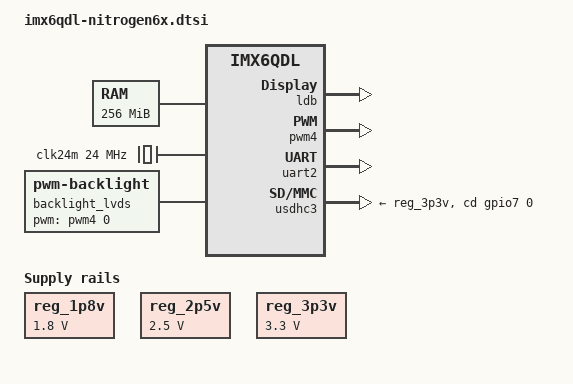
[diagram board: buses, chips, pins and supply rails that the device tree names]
/*
 * Copyright 2013 Boundary Devices
 * Copyright 2012 Freescale Semiconductor, Inc.
 * Copyright 2011 Linaro Ltd.
 *
 * The code contained herein is licensed under the GNU General Public
 * License. You may obtain a copy of the GNU General Public License
 * Version 2 or later at the following locations:
 *
 * http://www.opensource.org/licenses/gpl-license.html
 * http://www.gnu.org/copyleft/gpl.html
 */
#include <dt-bindings/input/input.h>

/ {
	aliases {
		mxcfb0 = &mxcfb1;
		/* mxcfb1 = &mxcfb2; */
		/* mxcfb2 = &mxcfb3; */
		/* mxcfb3 = &mxcfb4; */
	};

	memory {
		reg = <0xC0000000 0x10000000>;
	};

	clocks {
		clk24m: clk24m {
			compatible = "fixed-clock";
			#clock-cells = <0>;
			clock-frequency = <24000000>;
		};
	};

	regulators {
		compatible = "simple-bus";

		reg_1p8v: 1p8v {
			compatible = "regulator-fixed";
			regulator-name = "1P8V";
			regulator-min-microvolt = <1800000>;
			regulator-max-microvolt = <1800000>;
			regulator-always-on;
		};

		reg_2p5v: 2p5v {
			compatible = "regulator-fixed";
			regulator-name = "2P5V";
			regulator-min-microvolt = <2500000>;
			regulator-max-microvolt = <2500000>;
			regulator-always-on;
		};

		reg_3p3v: 3p3v {
			compatible = "regulator-fixed";
			regulator-name = "3P3V";
			regulator-min-microvolt = <3300000>;
			regulator-max-microvolt = <3300000>;
			regulator-always-on;
		};

		/* reg_usb_otg_vbus: usb_otg_vbus { */
		/* 	compatible = "regulator-fixed"; */
		/* 	regulator-name = "usb_otg_vbus"; */
		/* 	regulator-min-microvolt = <5000000>; */
		/* 	regulator-max-microvolt = <5000000>; */
		/* 	gpio = <&gpio3 22 0>; */
		/* 	enable-active-high; */
		/* }; */
	};

	/* gpio-keys { */
	/* 	compatible = "gpio-keys"; */
	/* 	power { */
	/* 		label = "Power Button"; */
	/* 		gpios = <&gpio2 3 0>; */
	/* 		linux,code = <KEY_POWER>;	/\* or KEY_SEARCH *\/ */
	/* 		gpio-key,wakeup; */
	/* 	}; */

	/* 	menu { */
	/* 		label = "Menu"; */
	/* 		gpios = <&gpio2 1 0>; */
	/* 		linux,code = <KEY_MENU>; */
	/* 	}; */

	/* 	home { */
	/* 		label = "Home"; */
	/* 		gpios = <&gpio2 4 0>; */
	/* 		linux,code = <KEY_HOME>; */
	/* 	}; */

	/* 	back { */
	/* 		label = "Back"; */
	/* 		gpios = <&gpio2 2 0>; */
	/* 		linux,code = <KEY_BACK>; */
	/* 	}; */

	/* 	volume-up { */
	/* 		label = "Volume Up"; */
	/* 		gpios = <&gpio7 13 0>; */
	/* 		linux,code = <KEY_VOLUMEUP>; */
	/* 	}; */

	/* 	volume-down { */
	/* 		label = "Volume Down"; */
	/* 		gpios = <&gpio4 5 0>; */
	/* 		linux,code = <KEY_VOLUMEDOWN>; */
	/* 	}; */
	/* }; */

	/* sound { */
	/* 	compatible = "fsl,imx6q-nitrogen6x-sgtl5000", */
	/* 		     "fsl,imx-audio-sgtl5000"; */
	/* 	model = "imx6q-nitrogen6x-sgtl5000"; */
	/* 	ssi-controller = <&ssi1>; */
	/* 	audio-codec = <&codec>; */
	/* 	audio-routing = */
	/* 		"MIC_IN", "Mic Jack", */
	/* 		"Mic Jack", "Mic Bias", */
	/* 		"Headphone Jack", "HP_OUT"; */
	/* 	mux-int-port = <1>; */
	/* 	mux-ext-port = <3>; */
	/* }; */
	/* sound-hdmi { */
	/* 	compatible = "fsl,imx6q-audio-hdmi", */
	/* 		     "fsl,imx-audio-hdmi"; */
	/* 	model = "imx-audio-hdmi"; */
	/* 	hdmi-controller = <&hdmi_audio>; */
	/* }; */

	mxcfb1: fb@0 {
		compatible = "fsl,mxc_sdc_fb";
		disp_dev = "ldb";
		interface_pix_fmt = "RGB666";
		mode_str ="LDB-XGA";
		default_bpp = <16>;
		int_clk = <0>;
		late_init = <0>;
		status = "disabled";
	};

	/* mxcfb2: fb@1 { */
	/* 	compatible = "fsl,mxc_sdc_fb"; */
	/* 	disp_dev = "hdmi"; */
	/* 	interface_pix_fmt = "RGB24"; */
	/* 	mode_str ="1920x1080M@60"; */
	/* 	default_bpp = <24>; */
	/* 	int_clk = <0>; */
	/* 	late_init = <0>; */
	/* 	status = "disabled"; */
	/* }; */

	/* mxcfb3: fb@2 { */
	/* 	compatible = "fsl,mxc_sdc_fb"; */
	/* 	disp_dev = "lcd"; */
	/* 	interface_pix_fmt = "RGB565"; */
	/* 	mode_str ="CLAA-WVGA"; */
	/* 	default_bpp = <16>; */
	/* 	int_clk = <0>; */
	/* 	late_init = <0>; */
	/* 	status = "disabled"; */
	/* }; */

	/* mxcfb4: fb@3 { */
	/* 	compatible = "fsl,mxc_sdc_fb"; */
	/* 	disp_dev = "ldb"; */
	/* 	interface_pix_fmt = "RGB666"; */
	/* 	mode_str ="LDB-XGA"; */
	/* 	default_bpp = <16>; */
	/* 	int_clk = <0>; */
	/* 	late_init = <0>; */
	/* 	status = "disabled"; */
	/* }; */

	/* lcd0: lcd@0 { */
	/* 	compatible = "fsl,lcd"; */
	/* 	ipu_id = <0>; */
	/* 	disp_id = <0>; */
	/* 	default_ifmt = "RGB565"; */
	/* 	pinctrl-names = "default"; */
	/* 	pinctrl-0 = <&pinctrl_ipu1_4>; */
	/* 	status = "okay"; */
	/* }; */

	/* backlight_lcd: backlight_lcd { */
	/* 	compatible = "pwm-backlight"; */
	/* 	pwms = <&pwm1 0 5000000>; */
	/* 	brightness-levels = <0 4 8 16 32 64 128 255>; */
	/* 	default-brightness-level = <7>; */
	/* }; */

	backlight_lvds {
		compatible = "pwm-backlight";
		pwms = <&pwm4 0 5000000>;
		brightness-levels = <0 4 8 16 32 64 128 255>;
		default-brightness-level = <7>;
	};

	/* v4l2_cap_0: v4l2_cap_0 { */
	/* 	compatible = "fsl,imx6q-v4l2-capture"; */
	/* 	ipu_id = <0>; */
	/* 	csi_id = <0>; */
	/* 	mclk_source = <0>; */
	/* 	status = "okay"; */
	/* }; */

	/* v4l2_cap_1: v4l2_cap_1 { */
	/* 	compatible = "fsl,imx6q-v4l2-capture"; */
	/* 	ipu_id = <0>; */
	/* 	csi_id = <1>; */
	/* 	mipi_camera = <1>; */
	/* 	mclk_source = <0>; */
	/* 	status = "okay"; */
	/* }; */

	/* v4l2_cap_2: v4l2_cap_2 { */
	/* 	compatible = "fsl,imx6q-v4l2-capture"; */
	/* 	ipu_id = <0>; */
	/* 	csi_id = <1>; */
	/* 	mclk_source = <0>; */
	/* 	status = "okay"; */
	/* }; */

	/* v4l2_cap_3: v4l2_cap_3 { */
	/* 	compatible = "fsl,imx6q-v4l2-capture"; */
	/* 	ipu_id = <0>; */
	/* 	csi_id = <0>; */
	/* 	mipi_camera = <1>; */
	/* 	mclk_source = <0>; */
	/* 	status = "okay"; */
	/* }; */

	v4l2_out {
		compatible = "fsl,mxc_v4l2_output";
		status = "okay";
	};

	/* wlan { */
	/* 	compatible = "ti,wilink6"; */
	/* 	interrupt-parent = <&gpio6>; */
	/* 	interrupts = <14 IRQ_TYPE_LEVEL_HIGH>; */
	/* 	clocks = <&refclock>; */
	/* 	clock-names = "refclock"; */

	/* 	refclock: refclock { */
	/* 		compatible = "ti,wilink-clock"; */
	/* 		#clock-cells = <0>; */
	/* 		clock-frequency = <38400000>; */
	/* 	}; */
	/* }; */

	/* wlan_bt_rfkill { */
	/* 	compatible = "net,rfkill-gpio"; */
	/* 	name = "wlan_bt_rfkill"; */
	/* 	type = <2>;     /\* bluetooth *\/ */
	/* 	gpios = <&gpio6 16 0>; */
	/* }; */
};

/* &audmux { */
/* 	pinctrl-names = "default"; */
/* 	pinctrl-0 = <&pinctrl_audmux_2>; */
/* 	status = "okay"; */
/* }; */

/* &ecspi1 { */
/* 	fsl,spi-num-chipselects = <1>; */
/* 	cs-gpios = <&gpio3 19 0>; */
/* 	pinctrl-names = "default"; */
/* 	pinctrl-0 = <&pinctrl_ecspi1_1>; */
/* 	status = "okay"; */

/* 	flash: m25p80@0 { */
/* 		compatible = "sst,sst25vf016b"; */
/* 		spi-max-frequency = <20000000>; */
/* 		reg = <0>; */
/* 		#address-cells = <1>; */
/* 		#size-cells = <1>; */
/* 		partition@0 { */
/* 			label = "U-Boot"; */
/* 			reg = <0x0 0xC0000>; */
/* 		}; */
/* 		partition@C0000 { */
/* 			label = "env"; */
/* 			reg = <0xC0000 0x2000>; */
/* 		}; */
/* 		partition@C2000 { */
/* 			label = "splash"; */
/* 			reg = <0xC2000 0x13e000>; */
/* 		}; */
/* 	}; */
/* }; */

/* &fec { */
/* 	pinctrl-names = "default"; */
/* 	pinctrl-0 = <&pinctrl_enet_4>; */
/* 	phy-mode = "rgmii"; */
/* #if 0 */
/* 	phy-reset-gpios = <&gpio1 27 0>; */
/* #endif */
/* 	status = "okay"; */

/* 	#address-cells = <0>; */
/* 	#size-cells = <1>; */
/* 	phy_int { */
/* 		reg = <0x6>; */
/* 		interrupt-parent = <&gpio1>; */
/* 		interrupts = <28 IRQ_TYPE_LEVEL_LOW>; */
/* 	}; */
/* }; */

/* &flexcan1 { */
/* 	pinctrl-names = "default"; */
/* 	pinctrl-0 = <&pinctrl_flexcan1_1>; */
/* 	trx-stby-gpio = <&gpio1 2 GPIO_ACTIVE_LOW>; */
/* 	status = "okay"; */
/* }; */

/* &hdmi_audio { */
/* 	status = "okay"; */
/* }; */

/* &hdmi_cec { */
/* 	pinctrl-names = "default"; */
/* 	pinctrl-0 = <&pinctrl_hdmi_cec_2>; */
/* 	status = "okay"; */
/* }; */

/* &hdmi_core { */
/* 	ipu_id = <0>; */
/* 	disp_id = <0>; */
/* 	status = "okay"; */
/* }; */

/* &hdmi_video { */
/* 	fsl,phy_reg_vlev = <0x0294>; */
/* 	fsl,phy_reg_cksymtx = <0x800d>; */
/* 	status = "okay"; */
/* }; */

/* &i2c1 { */
/* 	clock-frequency = <100000>; */
/* 	pinctrl-names = "default"; */
/* 	pinctrl-0 = <&pinctrl_i2c1_1>; */
/* 	status = "okay"; */

/* 	codec: sgtl5000@0a { */
/* 		compatible = "fsl,sgtl5000"; */
/* 		reg = <0x0a>; */
/* 		clocks = <&clks 201>; */
/* 		VDDA-supply = <&reg_2p5v>; */
/* 		VDDIO-supply = <&reg_3p3v>; */
/* 	}; */
/* 	isl1208@6f { */
/* 		compatible = "isl,isl1208"; */
/* 		reg = <0x6f>; */
/* 		interrupt-parent = <&gpio6>; */
/* 		interrupts = <7 IRQ_TYPE_EDGE_FALLING>; */
/* 	}; */
/* }; */

/* &i2c2 { */
/* 	clock-frequency = <100000>; */
/* 	pinctrl-names = "default"; */
/* 	pinctrl-0 = <&pinctrl_i2c2_2>; */
/* 	status = "okay"; */

/* 	hdmi: edid@50 { */
/* 		compatible = "fsl,imx6-hdmi-i2c"; */
/* 		reg = <0x50>; */
/* 	}; */

/* 	ov5642: ov5642@3d { */
/* 		compatible = "ovti,ov5642"; */
/* 		reg = <0x3d>; */
/* 		pinctrl-names = "default"; */
/* 		pinctrl-0 = <&pinctrl_ipu1_2>; */
/* 		clocks = <&clks 200>; */
/* 		clock-names = "csi_mclk"; */
/* 		DOVDD-supply = <&reg_1p8v>; */
/* 		AVDD-supply = <&reg_2p5v>; */
/* 		DVDD-supply = <&reg_1p8v>; */
/* 		pwn-gpios = <&gpio1 6 1>; */
/* 		rst-gpios = <&gpio1 8 0>; */
/* 		ipu_id = <0>; */
/* 		csi_id = <0>; */
/* 		mclk = <24000000>; */
/* 		mclk_source = <0>; */
/* 	}; */

/* 	ov5640_mipi: ov5640_mipi@3e { */
/* 		compatible = "ovti,ov5640_mipi"; */
/* 		reg = <0x3e>; */
/* 		clocks = <&clks 147>; */
/* 		clock-names = "csi_mclk"; */
/* 		DOVDD-supply = <&reg_1p8v>; */
/* 		AVDD-supply = <&reg_2p5v>; */
/* 		DVDD-supply = <&reg_1p8v>; */
/* 		pwn-gpios = <&gpio6 9 1>; */
/* 		rst-gpios = <&gpio2 5 0>; */
/* 		ipu_id = <0>; */
/* 		csi_id = <1>; */
/* 		mclk = <22000000>; */
/* 		mclk_source = <0>; */
/* 		pwms = <&pwm3 0 45>; */
/* 	}; */
/* }; */

/* &i2c3 { */
/*         clock-frequency = <100000>; */
/*         pinctrl-names = "default"; */
/*         pinctrl-0 = <&pinctrl_i2c3_3>; */
/*         status = "okay"; */

/*         egalax_ts@04 { */
/*                 compatible = "eeti,egalax_ts"; */
/*                 reg = <0x04>; */
/*                 interrupt-parent = <&gpio1>; */
/*                 interrupts = <9 2>; */
/*                 wakeup-gpios = <&gpio1 9 0>; */
/*         }; */

/*         ft5x06_ts@38 { */
/* 		compatible = "ft5x06-ts,ft5x06-ts"; */
/* 		reg = <0x38>; */
/* 		interrupt-parent = <&gpio1>; */
/* 		interrupts = <9 2>; */
/* 		wakeup-gpios = <&gpio1 9 0>; */
/* 	}; */

/*         ili210x@41 { */
/* 		compatible = "ili210x"; */
/* 		reg = <0x41>; */
/* 		interrupt-parent = <&gpio1>; */
/* 		interrupts = <9 2>; */
/* 		wakeup-gpios = <&gpio1 9 0>; */
/* 	}; */

/* 	ov5640: ov5640@3c { */
/* 		compatible = "ovti,ov5640"; */
/* 		reg = <0x3c>; */
/* 		pinctrl-names = "default"; */
/* 		pinctrl-0 = <&pinctrl_ov5640 &pinctrl_ov5640_gpios>; */
/* 		clocks = <&clk24m 0>; */
/* 		clock-names = "csi_mclk"; */
/* 		DOVDD-supply = <&reg_1p8v>; */
/* 		AVDD-supply = <&reg_2p5v>; */
/* 		DVDD-supply = <&reg_1p8v>; */
/* 		pwn-gpios = <&gpio3 13 1>; */
/* 		rst-gpios = <&gpio3 14 0>; */
/* 		csi_id = <1>; */
/* 		mclk = <24000000>; */
/* 		mclk_source = <0>; */
/* 	}; */

/* 	tsc2004: tsc2004@48 { */
/* 		compatible = "tsc2004,tsc2004"; */
/* 		reg = <0x48>; */
/* 		pinctrl-names = "default"; */
/* 		pinctrl-0 = <&pinctrl_tsc2004>; */
/* 		interrupt-parent = <&gpio4>; */
/* 		interrupts = <20 2>; */
/* 		wakeup-gpios = <&gpio4 20 0>; */
/* 	}; */
/* }; */

&iomuxc {
	pinctrl-names = "default";
	pinctrl-0 = <&pinctrl_hog_1>;

	imx6q-nitrogen6x {
		pinctrl_hog_1: hoggrp-1 {
			fsl,pins = <
				/* Power Button */
                                MX6QDL_PAD_NANDF_D3__GPIO2_IO03         0x1b0b0
                                /* Menu Button */
                                MX6QDL_PAD_NANDF_D1__GPIO2_IO01         0x1b0b0
                                /* Home Button */
                                MX6QDL_PAD_NANDF_D4__GPIO2_IO04         0x1b0b0
                                /* Back Button */
                                MX6QDL_PAD_NANDF_D2__GPIO2_IO02         0x1b0b0
                                /* Volume Up Button */
                                MX6QDL_PAD_GPIO_18__GPIO7_IO13          0x1b0b0
                                /* Volume Down Button */
                                MX6QDL_PAD_GPIO_19__GPIO4_IO05          0x1b0b0
				MX6QDL_PAD_EIM_D19__GPIO3_IO19		0x80000000	/* spi-nor CS */
				MX6QDL_PAD_EIM_D22__GPIO3_IO22		0x80000000	/* otg power en */
				MX6QDL_PAD_ENET_RXD0__GPIO1_IO27	0x0f0b0		/* ethernet phy reset */
				MX6QDL_PAD_ENET_TX_EN__GPIO1_IO28	0x1b0b0		/* ethernet phy interrupt */
				MX6QDL_PAD_SD3_DAT5__GPIO7_IO00		0x80000000	/* USDHC3 CD */
				MX6QDL_PAD_SD3_DAT4__GPIO7_IO01		0x1f0b0		/* Spare */
				MX6QDL_PAD_NANDF_D6__GPIO2_IO06		0x80000000	/* uSDHC4 CD */
				MX6QDL_PAD_NANDF_D7__GPIO2_IO07		0x80000000	/* Spare */
				MX6QDL_PAD_GPIO_0__CCM_CLKO1		0x000b0		/* SGTL5000 sys_mclk */
				MX6QDL_PAD_GPIO_2__GPIO1_IO02		0x80000000	/* CAN standby */
				MX6QDL_PAD_GPIO_4__GPIO1_IO04		0x80000000	/* Spare */
				MX6QDL_PAD_GPIO_9__GPIO1_IO09		0x80000000	/* I2C3 touch screen interrupt */
				MX6QDL_PAD_NANDF_WP_B__GPIO6_IO09	0x0b0b0		/* ov5640 mipi powerdown */
				MX6QDL_PAD_NANDF_D5__GPIO2_IO05		0x000b0		/* ov5640 mipi reset */
				MX6QDL_PAD_GPIO_3__CCM_CLKO2		0x000b0		/* ov5642 mclk */
				MX6QDL_PAD_GPIO_6__GPIO1_IO06		0x000b0		/* ov5642 Power Down */
				MX6QDL_PAD_GPIO_8__GPIO1_IO08		0x000b0		/* ov5642 Reset */
				MX6QDL_PAD_GPIO_17__GPIO7_IO12		0x0b0b0		/* USB Hub Reset */
				MX6QDL_PAD_NANDF_CS1__GPIO6_IO14	0x100b0		/* wl12xx_wl_irq */
				MX6QDL_PAD_NANDF_CS3__GPIO6_IO16	0x000b0		/* wl12xx_bt_en */
				MX6QDL_PAD_SD1_CLK__OSC32K_32K_OUT	0x000b0		/* TiWi slow clock */
				MX6QDL_PAD_NANDF_CLE__GPIO6_IO07	0x1b0b0		/* ISL1208 interrupt */
			>;
		};

		pinctrl_ov5640: pinctrl_ov5640 {
			/* parallel camera on CSI1, pins differ for iMX6Q/iMX6DL */
		};

		pinctrl_ov5640_gpios: pinctrl_ov5640_gpios {
			fsl,pins = <
				MX6QDL_PAD_EIM_DA13__GPIO3_IO13		0x0b0b0		/* Power */
				MX6QDL_PAD_EIM_DA14__GPIO3_IO14		0x030b0		/* Reset */
			>;
		};

		pinctrl_tsc2004: tsc2004grp {
			fsl,pins = <
				MX6QDL_PAD_DI0_PIN4__GPIO4_IO20		0x1b0b0		/* tsc2004 interrupt */
			>;
		};

		pinctrl_usdhc2: usdhc2grp {
			fsl,pins = <
				MX6QDL_PAD_SD2_CMD__SD2_CMD		0x17071
				MX6QDL_PAD_SD2_CLK__SD2_CLK		0x10071
				MX6QDL_PAD_SD2_DAT0__SD2_DATA0		0x17071
				MX6QDL_PAD_SD2_DAT1__SD2_DATA1		0x17071
				MX6QDL_PAD_SD2_DAT2__SD2_DATA2		0x17071
				MX6QDL_PAD_SD2_DAT3__SD2_DATA3		0x17071
				MX6QDL_PAD_NANDF_CS2__GPIO6_IO15	0x000b0		/* wl12xx_wl_en */
			>;
		};
	};
};

&ldb {
	ipu_id = <0>;
	disp_id = <1>;
	ext_ref = <1>;
	mode = "sin0";
	sec_ipu_id = <1>;
	sec_disp_id = <1>;
	status = "okay";
};

/* &mipi_csi { */
/* 	lanes = <2>; */
/* 	status = "okay"; */
/* }; */

/* &pcie { */
/* 	status = "okay"; */
/* }; */

/* &pwm1 { */
/* 	pinctrl-names = "default"; */
/* 	pinctrl-0 = <&pinctrl_pwm1_1>; */
/* 	status = "okay"; */
/* }; */

/* &pwm3 { */
/* 	pinctrl-names = "default"; */
/* 	pinctrl-0 = <&pinctrl_pwm3_2>; */
/* 	status = "okay"; */
/* }; */

&pwm4 {
	pinctrl-names = "default";
	pinctrl-0 = <&pinctrl_pwm4_2>;
	status = "okay";
};

/* &ssi1 { */
/* 	fsl,mode = "i2s-slave"; */
/* 	status = "okay"; */
/* }; */

/* &uart1 { */
/* 	pinctrl-names = "default"; */
/* 	pinctrl-0 = <&pinctrl_uart1_2>; */
/* 	status = "okay"; */
/* }; */

&uart2 {
	pinctrl-names = "default";
	pinctrl-0 = <&pinctrl_uart2_1>;
	status = "okay";
};

/* &uart3 { */
/* 	pinctrl-names = "default"; */
/* 	pinctrl-0 = <&pinctrl_uart3_2>; */
/* 	fsl,uart-has-rtscts; */
/* 	status = "okay"; */
/* }; */

/* &usbh1 { */
/* 	status = "okay"; */
/* }; */

/* &usbotg { */
/* 	vbus-supply = <&reg_usb_otg_vbus>; */
/* 	pinctrl-names = "default"; */
/* 	pinctrl-0 = <&pinctrl_usbotg_1>; */
/* 	disable-over-current; */
/* 	status = "okay"; */
/* }; */

/* &usdhc2 {	/\* uSDHC2, TiWi wl1271 *\/ */
/* 	pinctrl-names = "default"; */
/* 	pinctrl-0 = <&pinctrl_usdhc2>; */
/* 	bus-width = <4>; */
/* 	non-removable; */
/* 	vmmc-supply = <&reg_3p3v>; */
/* 	vqmmc-1-8-v; */
/* 	power-gpio = <&gpio6 15 0>; */
/* 	ocr-limit = <0x80>;     /\* 1.65v - 1.95v *\/ */
/* 	power-off-card; */
/* 	keep-power-in-suspend; */
/* 	status = "okay"; */
/* }; */

&usdhc3 {
	pinctrl-names = "default";
	pinctrl-0 = <&pinctrl_usdhc3_2>;
	cd-gpios = <&gpio7 0 0>;
	vmmc-supply = <&reg_3p3v>;
	status = "okay";
};

/* &usdhc4 { */
/* 	pinctrl-names = "default"; */
/* 	pinctrl-0 = <&pinctrl_usdhc4_2>; */
/* 	cd-gpios = <&gpio2 6 0>; */
/* 	vmmc-supply = <&reg_3p3v>; */
/* 	status = "okay"; */
/* }; */
